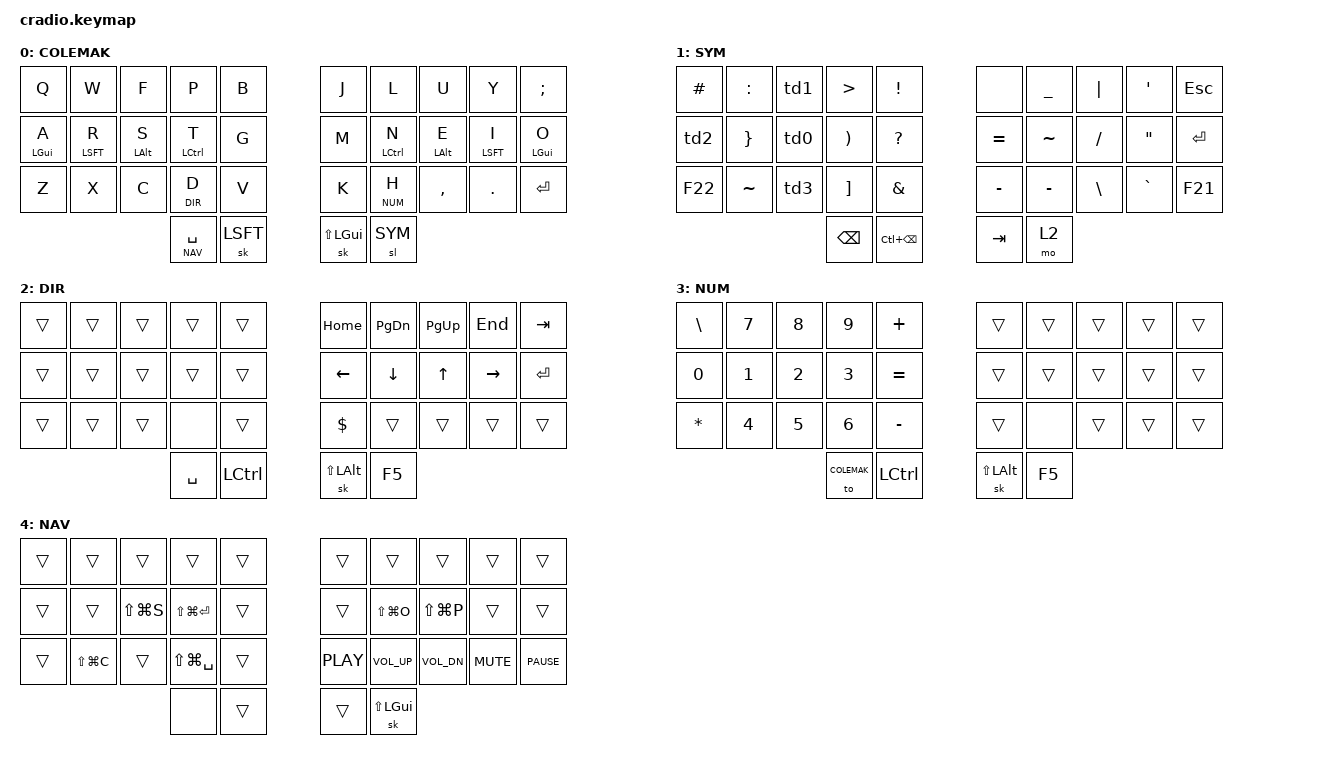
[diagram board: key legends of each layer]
/*
 * Copyright (c) 2020 The ZMK Contributors
 *
 * SPDX-License-Identifier: MIT
 */

#include <behaviors.dtsi>
#include <dt-bindings/zmk/keys.h>
#include <dt-bindings/zmk/bt.h>


&mt {
    flavor = "tap-preferred";
    tapping_term_ms = <200>;
};

&sk {
    release-after-ms = <2000>;
    quick-release;
};

/* Layers */
#define COLEMAK 0
#define SYM 1
#define DIR 2
#define NUM 3
#define NAV 4

/ { 

    combos {
        compatible = "zmk,combos";
        combo_esc {
            timeout-ms = <50>;
            key-positions = <1 2>;
            bindings = <&kp ESC>;
        };
                
        combo_tab {
            timeout-ms = <50>;
            key-positions = <2 3>;
            bindings = <&kp TAB>;
        };
        
        combo_word_backspace {
            timeout-ms = <50>;
            key-positions = <6 7 8>;
            bindings = <&kp LC(BSPC)>;
        };
                
        combo_backspace {
            timeout-ms = <50>;
            key-positions = <7 8>;
            bindings = <&kp BSPC>;
        };

        combo_caps {
            timeout-ms = <30>;
	        key-positions = <21 22 23>;
            bindings = <&caps_word>;
        };

        combo_enter {
            timeout-ms = <30>;
	        key-positions = <27 28>;
            bindings = <&kp ENTER>;
        };
    };

    behaviors {

        hl: homerow_layers {
            compatible = "zmk,behavior-hold-tap";
            label = "HOMEROW_LAYERS";
            #binding-cells = <2>;
            tapping-term-ms = <220>;
            quick_tap_ms = <0>;
            flavor = "tap-preferred";
            bindings = <&sk>, <&kp>;
        };

        ll: homerow_layers {
            compatible = "zmk,behavior-hold-tap";
            label = "HOMEROW_LAYERS";
            #binding-cells = <2>;
            tapping-term-ms = <220>;
            quick_tap_ms = <0>;
            flavor = "tap-preferred";
            bindings = <&sl>, <&kp>;
        };

        td0: tap_dance_0 {
            compatible = "zmk,behavior-tap-dance";
            label = "TAP_DANCE_0";
            #binding-cells = <0>;
            tapping-term-ms = <200>;
            bindings = <&kp LPAR>, <&csharp_func>;
        };

        td1: tap_dance_1 {
            compatible = "zmk,behavior-tap-dance";
            label = "TAP_DANCE_1";
            #binding-cells = <0>;
            tapping-term-ms = <200>;
            bindings = <&kp LT>, <&csharp_generic>;
        };

        td2: tap_dance_2 {
            compatible = "zmk,behavior-tap-dance";
            label = "TAP_DANCE_2";
            #binding-cells = <0>;
            tapping-term-ms = <200>;
            bindings = <&kp LBRC>, <&csharp_method>;
        };

        td3: tap_dance_3 {
            compatible = "zmk,behavior-tap-dance";
            label = "TAP_DANCE_3";
            #binding-cells = <0>;
            tapping-term-ms = <200>;
            bindings = <&kp LBKT>, <&csharp_array>;
        };
    };


    macros {
        zed_em_kay: zed_em_kay {
            label = "ZM_zed_em_kay";
            compatible = "zmk,behavior-macro";
            #binding-cells = <0>;
            bindings
                = <&macro_press &kp LSHFT>
                , <&macro_tap &kp Z &kp M &kp K>
                , <&macro_release &kp LSHFT>
                ;
        };

        csharp_func: csharp_func {
            label = "ZM_csharp_func";
            compatible = "zmk,behavior-macro";
            #binding-cells = <0>;
            wait-ms = <30>;
            tap-ms = <40>;
            bindings
                = <&macro_tap &kp LPAR &kp RPAR &kp SPC &kp EQL &kp GT &kp SPC &kp SEMICOLON &kp LEFT>
                ;
        };

        csharp_method: csharp_method {
            label = "ZM_csharp_method";
            compatible = "zmk,behavior-macro";
            #binding-cells = <0>;
            wait-ms = <30>;
            tap-ms = <40>;
            bindings
                = <&macro_tap &kp LBRC &kp RBRC &kp LEFT &kp ENTER>
                ;
        };

        csharp_generic: csharp_generic {
            label = "ZM_csharp_generic";
            compatible = "zmk,behavior-macro";
            #binding-cells = <0>;
            wait-ms = <30>;
            tap-ms = <40>;
            bindings
                = <&macro_tap &kp LT &kp GT &kp LEFT>
                ;
        };

        csharp_array: csharp_array {
            label = "ZM_csharp_array";
            compatible = "zmk,behavior-macro";
            #binding-cells = <0>;
            wait-ms = <30>;
            tap-ms = <40>;
            bindings
                = <&macro_tap &kp LBKT &kp RBKT &kp SEMICOLON &kp LEFT &kp LEFT &kp ENTER>
                ;
        };
    };

    keymap {
        compatible = "zmk,keymap";
                
       	COLEMAK {
        bindings = <
		    &kp Q      &kp W       &kp F      &kp P       &kp B 			&kp J   &kp L        &kp U       &kp Y        &kp SEMICOLON 
	        &mt LGUI A &mt LSFT R  &mt LALT S &mt LCTRL T &kp G 			&kp M   &mt LCTRL N  &mt LALT E  &mt LSFT I   &mt LGUI O
		    &kp Z      &kp X       &kp C      &ll DIR D       &kp V			&kp K   &ll NUM H   &kp CMMA    &kp DOT      &kp ENTER
              				       &hl NAV SPC &sk LSFT  				    &sk LS(LGUI)   &sl SYM 
		>;
        };

       	SYM {
		bindings = <
		    &kp HASH  &kp COLN   &td1      &kp GT    &kp EXCL		&none       &kp UNDER &kp PIPE &kp APOS  &kp ESC 
		    &td2      &kp RBRC   &td0      &kp RPAR  &kp QMARK  	&kp EQL     &kp TILDE &kp FSLH &kp DQT   &kp ENTER 
		    &kp F22   &kp TILDE  &td3      &kp RBKT  &kp AMPS   	    &kp MINUS   &kp MINUS &kp BSLH &kp GRAVE &kp F21
			    		          &kp BSPC  &kp LC(BSPC)  		&kp TAB &mo 2 
		>;
		};	

        DIR {
		bindings = <
		    &trans  &trans   &trans   &trans   &trans    			&kp HOME    &kp PG_DN  &kp PG_UP &kp END     &kp TAB 
		    &trans  &trans   &trans   &trans   &trans			    &kp LEFT    &kp DOWN   &kp UP    &kp RIGHT   &kp ENTER 
		    &trans  &trans   &trans   &none   &trans     			&kp DOLLAR  &trans     &trans    &trans      &trans
		    			 &kp SPC &kp LCTRL 				&sk LS(LALT)  &kp  F5
		>;
		};

        NUM {
		bindings = <
		    &kp BSLH  &kp N7 &kp N8  &kp N9  &kp PLUS    			&trans  &trans   &trans   &trans   &trans
		    &kp N0    &kp N1 &kp N2  &kp N3  &kp EQUAL			    &trans  &trans   &trans   &trans   &trans 
		    &kp STAR  &kp N4 &kp N5  &kp N6  &kp MINUS     			&trans  &none   &trans   &trans   &trans
		    			  &to COLEMAK &kp LCTRL 				&sk LS(LALT)  &kp  F5
		>;
		};	

		NAV {
		bindings = <
		    &trans  &trans &trans        &trans             &trans    			&trans     &trans        &trans         &trans     &trans 
		    &trans  &trans &kp LS(LG(S)) &kp LS(LG(ENTER))  &trans		        &trans     &kp LS(LG(O)) &kp LS(LG(P))  &trans     &trans
		    &trans  &kp LS(LG(C)) &trans &kp LS(LG(SPC))    &trans             	&kp C_PLAY &kp C_VOL_UP  &kp C_VOL_DN   &kp C_MUTE &kp C_PAUSE
		    			        &none &trans  				                &trans  &sk LS(LGUI)  
		>;
		};
	};
};
